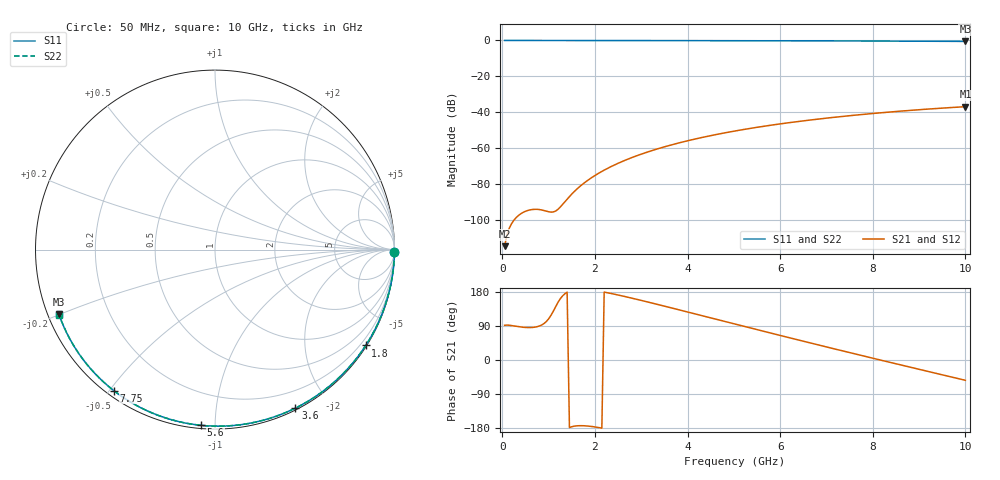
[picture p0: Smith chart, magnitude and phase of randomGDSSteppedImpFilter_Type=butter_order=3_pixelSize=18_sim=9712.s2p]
! freq	dB(S11)	phase(S11)	dB(S12)	phase(S12)
!  dB(S21)	phase(S21)	dB(S22)	phase(S22)
!S-par simulation data
#  GHz  S  DB  R 50
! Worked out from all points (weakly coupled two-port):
!   200 points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, 50 MHz to 10 GHz, reference 50 ohm
!   highest |S21| = -36.80 dB at 10 GHz (marker M1); lowest = -114.3 dB at 50 MHz (marker M2)
!   lowest |S11| = -0.5 dB at 10 GHz (marker M3), VSWR 33.03, Z = 1.57 - j9.97 ohm
!   |S11| at or under -10 dB: nowhere
!   |S22| runs from -0.5 to 0.0 dB; largest |S21 - S12| = 0
!   S11 on the Smith chart (normalised r, x): 50 MHz: open; 1.8 GHz: 0.03, -3.44; 3.6 GHz: 0.02, -1.63; 5.6 GHz: 0.02, -0.92; 7.75 GHz: 0.02, -0.51; 10 GHz: 0.03, -0.20
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0.05  -0.00 -0.9  -114.30 91.6  -114.30 91.6  -0.00 -0.9
0.45  -0.01 -8.2  -95.52 86.4  -95.52 86.4  -0.01 -8.2
0.9  -0.02 -16.4  -94.47 96.2  -94.47 96.2  -0.02 -16.4
1.7  -0.04 -30.7  -80.58 -173.3  -80.58 -173.3  -0.04 -30.7
1.75  -0.04 -31.6  -79.54 -173.5  -79.54 -173.5  -0.04 -31.5
1.8  -0.04 -32.4  -78.56 -173.8  -78.56 -173.8  -0.04 -32.4
1.95  -0.04 -35.1  -75.86 -175.8  -75.86 -175.8  -0.04 -35.1
2.1  -0.05 -37.7  -73.49 -178.6  -73.49 -178.6  -0.05 -37.7
2.3  -0.05 -41.2  -70.71 176.8  -70.71 176.8  -0.05 -41.2
2.5  -0.06 -44.6  -68.26 171.6  -68.26 171.6  -0.06 -44.6
2.9  -0.07 -51.4  -64.09 160.2  -64.09 160.2  -0.07 -51.4
3.4  -0.08 -59.8  -59.86 145.2  -59.86 145.2  -0.08 -59.8
3.6  -0.08 -63.1  -58.39 139.1  -58.39 139.1  -0.08 -63.1
4.3  -0.11 -74.4  -53.97 117.4  -53.97 117.4  -0.11 -74.4
5.05  -0.13 -86.2  -50.19 94.1  -50.19 94.1  -0.13 -86.1
5.6  -0.16 -94.5  -47.86 77.1  -47.86 77.1  -0.16 -94.5
6.15  -0.18 -102.7  -45.83 60.2  -45.83 60.2  -0.18 -102.7
6.7  -0.22 -110.7  -44.04 43.5  -44.04 43.5  -0.22 -110.7
7.75  -0.29 -125.7  -41.18 12.1  -41.18 12.1  -0.29 -125.7
8.35  -0.34 -134.1  -39.79 -5.6  -39.79 -5.6  -0.34 -134.1
9.2  -0.43 -146.1  -38.11 -30.4  -38.11 -30.4  -0.43 -146.0
10  -0.53 -157.4  -36.80 -53.6  -36.80 -53.6  -0.53 -157.4
